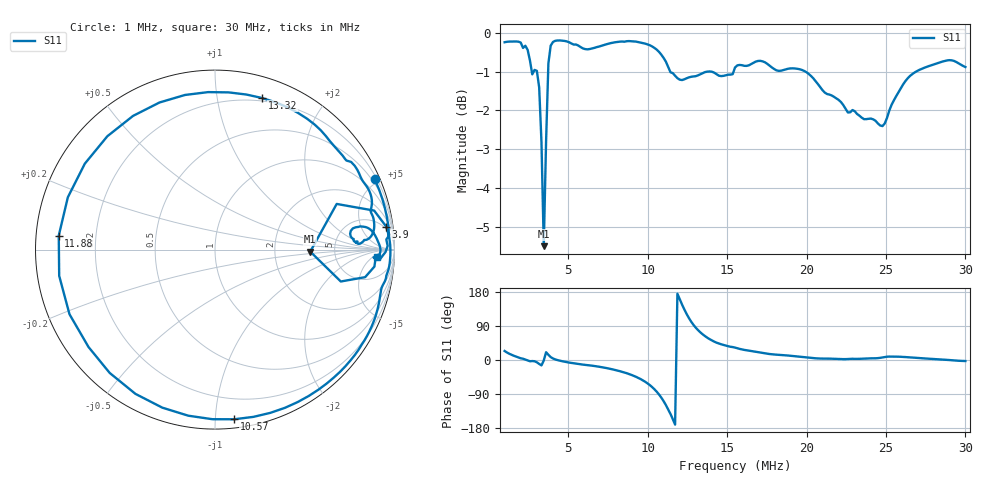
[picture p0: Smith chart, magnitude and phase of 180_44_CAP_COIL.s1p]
!Keysight Technologies N9918A: A.12.56
!Date: Monday, 07 July 2025 03:44:53
!TimeZone: (UTC-08:00) Pacific Time (US & Canada)!Model: N9918A
!Serial: MY56072139
!GPS Latitude:
!GPS Longitude:
!GPS TimeStamp: 0001-01-01 00:00:00Z
!GPS Seconds Since Last Read: 0
!CHECKSUM:0388773764
!Correction: S11(Rdy)
!S1P File: Measurement: S11:
# Hz S DB R 50
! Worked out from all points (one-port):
!   201 points, 1 MHz to 30 MHz, reference 50 ohm
!   lowest |S11| = -5.5 dB at 3.465 MHz (marker M1), VSWR 3.26, Z = 163 - j5.07 ohm
!   |S11| at or under -10 dB: nowhere
!   S11 on the Smith chart (normalised r, x): 1 MHz: 0.33, +4.72; 3.9 MHz: 4, +14; 10.57 MHz: 0.06, -1.12; 11.88 MHz: 0.07, +0.04; 13.32 MHz: 0.17, +1.34; 30 MHz: 16, -8
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1000000  -0.24 23.8
2015000  -0.25 4.5
3030000  -0.98 -6.1
3320000  -2.82 -14.2
3465000  -5.50 -1.2
3610000  -2.80 20.6
3755000  -0.79 13.8
3900000  -0.33 7.7
4625000  -0.20 -3.3
8250000  -0.23 -29.5
9555000  -0.25 -50.2
1.0135e7  -0.32 -66.1
1.057e7  -0.43 -83.6
1.115e7  -0.74 -118.9
1.1585e7  -1.04 -156.1
1.1875e7  -1.17 174.9
1.2165e7  -1.22 146.5
1.2455e7  -1.17 121.5
1.2745e7  -1.13 101.0
1.3325e7  -1.07 72.8
1.4195e7  -1.03 48.4
1.55e7  -0.90 32.8
1.7095e7  -0.72 19.5
1.9125e7  -0.92 10.5
2.275e7  -2.05 3.3
2.478e7  -2.41 6.7
2.6375e7  -1.17 7.3
3e7  -0.88 -2.8
